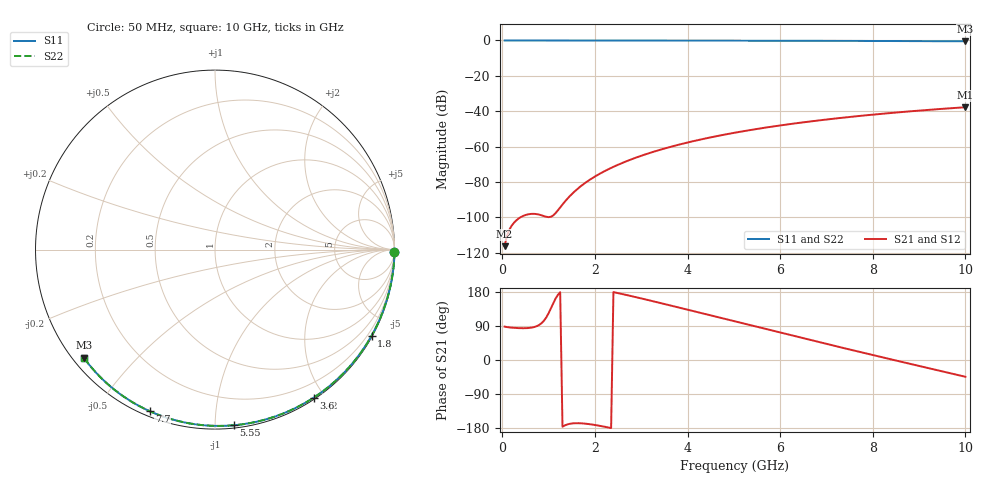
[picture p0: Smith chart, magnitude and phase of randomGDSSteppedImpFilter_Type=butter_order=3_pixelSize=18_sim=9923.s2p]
! freq	dB(S11)	phase(S11)	dB(S12)	phase(S12)
!  dB(S21)	phase(S21)	dB(S22)	phase(S22)
!S-par simulation data
#  GHz  S  DB  R 50
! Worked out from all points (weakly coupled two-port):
!   200 points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, 50 MHz to 10 GHz, reference 50 ohm
!   highest |S21| = -37.72 dB at 10 GHz (marker M1); lowest = -116.2 dB at 50 MHz (marker M2)
!   lowest |S11| = -0.5 dB at 10 GHz (marker M3), VSWR 36.81, Z = 1.53 - j17.9 ohm
!   |S11| at or under -10 dB: nowhere
!   |S22| runs from -0.5 to 0.0 dB; largest |S21 - S12| = 0
!   S11 on the Smith chart (normalised r, x): 50 MHz: open; 1.8 GHz: 0.03, -3.89; 3.6 GHz: 0.02, -1.87; 5.55 GHz: 0.02, -1.11; 7.7 GHz: 0.02, -0.67; 10 GHz: 0.03, -0.36
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0.05  -0.00 -0.8  -116.23 88.2  -116.23 88.2  -0.00 -0.8
0.45  -0.01 -7.3  -99.15 83.9  -99.15 83.9  -0.01 -7.3
0.9  -0.02 -14.6  -99.24 103.8  -99.24 103.8  -0.02 -14.6
1.75  -0.04 -28.1  -81.25 -167.5  -81.25 -167.5  -0.04 -28.1
1.8  -0.04 -28.8  -80.30 -168.1  -80.30 -168.1  -0.04 -28.8
1.85  -0.04 -29.6  -79.40 -168.8  -79.40 -168.8  -0.04 -29.6
2  -0.04 -32.0  -76.89 -171.5  -76.89 -171.5  -0.04 -32.0
2.15  -0.04 -34.3  -74.66 -174.7  -74.66 -174.7  -0.04 -34.3
2.35  -0.05 -37.4  -72.01 -179.6  -72.01 -179.6  -0.05 -37.4
2.55  -0.05 -40.5  -69.65 175.2  -69.65 175.2  -0.05 -40.5
2.95  -0.06 -46.6  -65.61 164.0  -65.61 164.0  -0.06 -46.6
3.4  -0.07 -53.3  -61.83 150.8  -61.83 150.8  -0.07 -53.3
3.6  -0.08 -56.3  -60.34 144.8  -60.34 144.8  -0.08 -56.3
4.3  -0.09 -66.5  -55.86 123.7  -55.86 123.7  -0.09 -66.5
5.05  -0.12 -77.1  -51.99 100.9  -51.99 100.9  -0.12 -77.1
5.55  -0.14 -84.0  -49.79 85.8  -49.79 85.8  -0.14 -84.0
6.1  -0.16 -91.4  -47.65 69.3  -47.65 69.3  -0.16 -91.4
6.7  -0.19 -99.2  -45.60 51.3  -45.60 51.3  -0.19 -99.2
7.7  -0.26 -112.0  -42.69 21.9  -42.69 21.9  -0.26 -112.0
8.35  -0.31 -120.2  -41.07 3.0  -41.07 3.0  -0.31 -120.2
9.2  -0.38 -130.7  -39.23 -21.5  -39.23 -21.5  -0.38 -130.7
10  -0.47 -140.5  -37.72 -44.3  -37.72 -44.3  -0.47 -140.5
